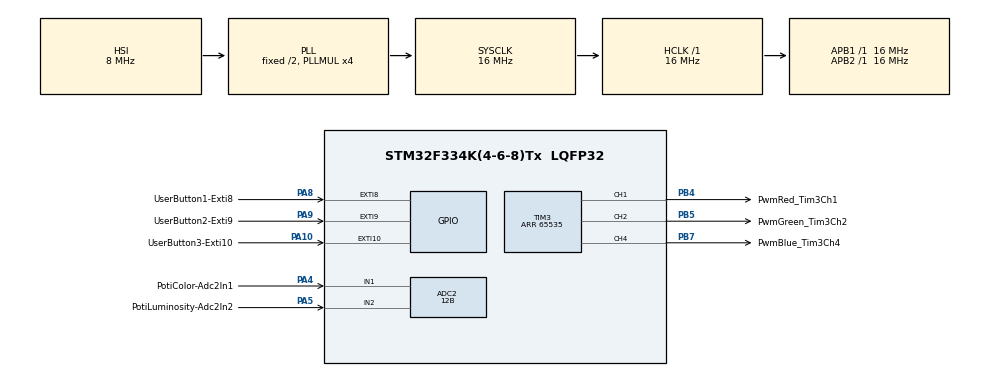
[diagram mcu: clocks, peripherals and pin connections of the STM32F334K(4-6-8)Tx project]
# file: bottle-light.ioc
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ADC2.Channel-0\#ChannelRegularConversion=ADC_CHANNEL_1
ADC2.Channel-1\#ChannelRegularConversion=ADC_CHANNEL_2
ADC2.ClockPrescaler=ADC_CLOCK_SYNC_PCLK_DIV4
ADC2.ContinuousConvMode=ENABLE
ADC2.DMAContinuousRequests=ENABLE
ADC2.DataAlign=ADC_DATAALIGN_RIGHT
ADC2.DiscontinuousConvMode=DISABLE
ADC2.EOCSelection=ADC_EOC_SINGLE_CONV
ADC2.EnableAnalogWatchDog1=false
ADC2.EnableAnalogWatchDog2=false
ADC2.EnableAnalogWatchDog3=false
ADC2.EnableInjectedConversion=DISABLE
ADC2.EnableRegularConversion=ENABLE
ADC2.ExternalTrigConv=ADC_SOFTWARE_START
ADC2.ExternalTrigConvEdge=ADC_EXTERNALTRIGCONVEDGE_NONE
ADC2.LowPowerAutoWait=DISABLE
ADC2.NbrOfConversion=2
ADC2.NbrOfConversionFlag=1
ADC2.Offset-0\#ChannelRegularConversion=0
ADC2.Offset-1\#ChannelRegularConversion=0
ADC2.OffsetNumber-0\#ChannelRegularConversion=ADC_OFFSET_NONE
ADC2.OffsetNumber-1\#ChannelRegularConversion=ADC_OFFSET_NONE
ADC2.Overrun=ADC_OVR_DATA_OVERWRITTEN
ADC2.Rank-0\#ChannelRegularConversion=1
ADC2.Rank-1\#ChannelRegularConversion=2
ADC2.Resolution=ADC_RESOLUTION_12B
ADC2.SamplingTime-0\#ChannelRegularConversion=ADC_SAMPLETIME_601CYCLES_5
ADC2.SamplingTime-1\#ChannelRegularConversion=ADC_SAMPLETIME_601CYCLES_5
ADC2.ScanConvMode=ADC_SCAN_ENABLE
Dma.ADC2.0.Direction=DMA_PERIPH_TO_MEMORY
Dma.ADC2.0.Instance=DMA1_Channel2
Dma.ADC2.0.MemDataAlignment=DMA_MDATAALIGN_WORD
Dma.ADC2.0.MemInc=DMA_MINC_ENABLE
Dma.ADC2.0.Mode=DMA_CIRCULAR
Dma.ADC2.0.PeriphDataAlignment=DMA_PDATAALIGN_WORD
Dma.ADC2.0.PeriphInc=DMA_PINC_DISABLE
Dma.ADC2.0.Priority=DMA_PRIORITY_LOW
Dma.Request0=ADC2
Mcu.Family=STM32F3
Mcu.Name=STM32F334K(4-6-8)Tx
Mcu.Package=LQFP32
NVIC.ADC1_2_IRQn=true\:0\:0\:false\:false\:true\:true
NVIC.DMA1_Channel2_IRQn=true\:0\:0\:false\:false\:true\:false
NVIC.EXTI15_10_IRQn=true\:0\:0\:false\:false\:true\:true
NVIC.EXTI9_5_IRQn=true\:0\:0\:false\:false\:true\:true
NVIC.PriorityGroup=NVIC_PRIORITYGROUP_4
NVIC.TIM3_IRQn=true\:0\:0\:false\:false\:true\:true
PA10.GPIO_Label=UserButton3-Exti10
PA10.Signal=GPXTI10
PA13.Mode=Trace_Asynchronous_SW
PA13.Signal=SYS_JTMS-SWDIO
PA14.Mode=Trace_Asynchronous_SW
PA14.Signal=SYS_JTCK-SWCLK
PA4.GPIO_Label=PotiColor-Adc2In1
PA4.Mode=IN1-Single-Ended
PA4.Signal=ADC2_IN1
PA5.GPIO_Label=PotiLuminosity-Adc2In2
PA5.Mode=IN2-Single-Ended
PA5.Signal=ADC2_IN2
PA8.GPIO_Label=UserButton1-Exti8
PA8.Signal=GPXTI8
PA9.GPIO_Label=UserButton2-Exti9
PA9.Signal=GPXTI9
PB3.Mode=Trace_Asynchronous_SW
PB3.Signal=SYS_JTDO-TRACESWO
PB4.GPIO_Label=PwmRed_Tim3Ch1
PB4.Signal=S_TIM3_CH1
PB5.GPIO_Label=PwmGreen_Tim3Ch2
PB5.Signal=S_TIM3_CH2
PB7.GPIO_Label=PwmBlue_Tim3Ch4
PB7.Signal=S_TIM3_CH4
ProjectManager.HeapSize=0x200
ProjectManager.StackSize=0x400
ProjectManager.TargetToolchain=SW4STM32
RCC.AHBFreq_Value=16000000
RCC.APB1Freq_Value=16000000
RCC.APB1TimFreq_Value=16000000
RCC.APB2Freq_Value=16000000
RCC.APB2TimFreq_Value=16000000
RCC.CortexFreq_Value=16000000
RCC.HCLKFreq_Value=16000000
RCC.HSE_VALUE=8000000
RCC.HSI_VALUE=8000000
RCC.PLLMUL=RCC_PLL_MUL4
RCC.SYSCLKFreq_VALUE=16000000
RCC.SYSCLKSourceVirtual=RCC_SYSCLKSOURCE_PLLCLK
SH.S_TIM3_CH1.0=TIM3_CH1,PWM Generation1 CH1
SH.S_TIM3_CH2.0=TIM3_CH2,PWM Generation2 CH2
SH.S_TIM3_CH4.0=TIM3_CH4,PWM Generation4 CH4
TIM3.AutoReloadPreload=TIM_AUTORELOAD_PRELOAD_ENABLE
TIM3.Channel-PWM\ Generation1\ CH1=TIM_CHANNEL_1
TIM3.Channel-PWM\ Generation2\ CH2=TIM_CHANNEL_2
TIM3.Channel-PWM\ Generation4\ CH4=TIM_CHANNEL_4
TIM3.Period=65535
TIM3.Pulse-PWM\ Generation1\ CH1=0
VP_TIM3_VS_ClockSourceINT.Mode=Internal
board=bottle-light

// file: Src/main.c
/**
  ******************************************************************************
  * File Name          : main.c
  * Description        : Main program body
  ******************************************************************************
  ** This notice applies to any and all portions of this file
  * that are not between comment pairs USER CODE BEGIN and
  * USER CODE END. Other portions of this file, whether
  * inserted by the user or by software development tools
  * are owned by their respective copyright owners.
  *
  * COPYRIGHT(c) 2018 STMicroelectronics
  *
  * Redistribution and use in source and binary forms, with or without modification,
  * are permitted provided that the following conditions are met:
  *   1. Redistributions of source code must retain the above copyright notice,
  *      this list of conditions and the following disclaimer.
  *   2. Redistributions in binary form must reproduce the above copyright notice,
  *      this list of conditions and the following disclaimer in the documentation
  *      and/or other materials provided with the distribution.
  *   3. Neither the name of STMicroelectronics nor the names of its contributors
  *      may be used to endorse or promote products derived from this software
  *      without specific prior written permission.
  *
  * THIS SOFTWARE IS PROVIDED BY THE COPYRIGHT HOLDERS AND CONTRIBUTORS "AS IS"
  * AND ANY EXPRESS OR IMPLIED WARRANTIES, INCLUDING, BUT NOT LIMITED TO, THE
  * IMPLIED WARRANTIES OF MERCHANTABILITY AND FITNESS FOR A PARTICULAR PURPOSE ARE
  * DISCLAIMED. IN NO EVENT SHALL THE COPYRIGHT HOLDER OR CONTRIBUTORS BE LIABLE
  * FOR ANY DIRECT, INDIRECT, INCIDENTAL, SPECIAL, EXEMPLARY, OR CONSEQUENTIAL
  * DAMAGES (INCLUDING, BUT NOT LIMITED TO, PROCUREMENT OF SUBSTITUTE GOODS OR
  * SERVICES; LOSS OF USE, DATA, OR PROFITS; OR BUSINESS INTERRUPTION) HOWEVER
  * CAUSED AND ON ANY THEORY OF LIABILITY, WHETHER IN CONTRACT, STRICT LIABILITY,
  * OR TORT (INCLUDING NEGLIGENCE OR OTHERWISE) ARISING IN ANY WAY OUT OF THE USE
  * OF THIS SOFTWARE, EVEN IF ADVISED OF THE POSSIBILITY OF SUCH DAMAGE.
  *
  ******************************************************************************
  */
#include "main.h"
#include "stm32f3xx_hal.h"
#include "adc.h"
#include "dma.h"
#include "tim.h"
#include "gpio.h"

/* USER CODE BEGIN Includes */
#define HAL

#define LED_RED 	TIM_CHANNEL_1
#define LED_GREEN 	TIM_CHANNEL_2
#define LED_BLUE 	TIM_CHANNEL_4

/* Boarders who define on witch point of color adc value a color maximum is reached */
#define COLOR_MAX_VALUE		20160
#define BOARDER_GREEN		20160
#define BOARDER_BLUE		40320
#define BOARDER_RED			60480 	// and 0
#define BOARDER_WHITE		63000

#define COLOR_TIM3_SCALING_FACTOR			3		// factor to scale form 20160 color value to 16 bit tim3 value
#define COLOR_TIM3_SCALING_FACTOR_OFFSET	5055	// existing offset, when scaling from 20160 color value to 16 bit tim3 value

#define ADC_TIM3_SCALING_FACTOR				16		// factor to scale from 12 bit adc to 16 bit tim3
#define ADC_TIM3_SCALING_FACTOR_OFFSET		15		// existing offset, when scaling 12 bit adc to 16 bit tim3

#define FADE_DELAY			25

#define ADC_ARRAY_LENGTH 	1000

#define TIM3_MAX_VALUE		65535				// maximum value for tim3 (2^16-1)

/* USER CODE END Includes */

/* USER CODE BEGIN PV */
/* Private variables ---------------------------------------------------------*/
uint8_t Power = 0;

uint32_t adc[2];

uint32_t RandomNumberAdc = 0;

uint32_t color;
uint32_t colorArray[ADC_ARRAY_LENGTH];
uint32_t luminosity;
uint32_t luminosityArray[ADC_ARRAY_LENGTH];
uint16_t AdcArrayCounter = 0;

uint64_t PwmDutyRed;
uint64_t PwmDutyGreen;
uint64_t PwmDutyBlue;

uint8_t Programm = 0;		// switch for light programs
uint8_t BreakProgram = 0;  // flag can be set to break the actual program (0…do nothing; 1…break program)

uint32_t test;			// a test variable
/* USER CODE END PV */

void SystemClock_Config(void);

/* USER CODE BEGIN PFP */
/* Private function prototypes -----------------------------------------------*/

/* USER CODE END PFP */

/* USER CODE BEGIN 0 */

#ifdef HAL

/**
  * @brief  Sets Duty to TIM PWM
  * @param  PulseLength 0 - 65535 (2^16)
  * @param  Channel TIM Channels to be configured
  *          This parameter can be one of the following values:
  *            @arg TIM_CHANNEL_1: TIM Channel 1 selected
  *            @arg TIM_CHANNEL_2: TIM Channel 2 selected
  *            @arg TIM_CHANNEL_3: TIM Channel 3 selected
  * @retval none
  */
void setPwmDuty(uint32_t PulseLength, uint32_t Channel)
{
	HAL_TIM_PWM_Stop(&htim3,Channel);

	TIM_OC_InitTypeDef sConfigOC;

	sConfigOC.OCMode = TIM_OCMODE_PWM1;
	sConfigOC.Pulse = PulseLength;
	sConfigOC.OCPolarity = TIM_OCPOLARITY_HIGH;
	sConfigOC.OCFastMode = TIM_OCFAST_DISABLE;
	if (HAL_TIM_PWM_ConfigChannel(&htim3, &sConfigOC, Channel) != HAL_OK)
	{
	  _Error_Handler(__FILE__, __LINE__);
	}
	HAL_TIM_PWM_Start(&htim3,Channel);
}

/**
  * @brief  Fade-in of a choosen LED color with a time delay
  * @param  TimeDiv		devides the additional PWM pulse to extend the fade-in time (1 - 1000)
  * @param  Led 		chose a led color to select
  *          This parameter can be one of the following values:
  *            @arg LED_RED:   Red   LEDs are selected
  *            @arg LED_GREEN: Green LEDs are selected
  *            @arg LED_BLUE:  Blue  LEDs are selected
  * @retval none
  */
void fadeInLed(uint16_t TimeDiv, uint32_t Led)
{
	uint32_t Channal;
	uint64_t PwmDuty = TimeDiv;

	if(TimeDiv > 1000)
		TimeDiv = 1000;

	Channal = Led;

	while(PwmDuty/TimeDiv < TIM3_MAX_VALUE)
	{
		setPwmDuty(PwmDuty/TimeDiv,Channal);
		PwmDuty = (PwmDuty + PwmDuty/TimeDiv);
		HAL_Delay(FADE_DELAY);
		}

}

/**
  * @brief  Fade-out of a choosen LED color with a time delay
  * @param  TimeDiv		devides the additional PWM pulse to extend the fade-in time (1 - 1000)
  * @param  Led 		chose a led color to select
  *          This parameter can be one of the following values:
  *            @arg LED_RED:   Red   LEDs are selected
  *            @arg LED_GREEN: Green LEDs are selected
  *            @arg LED_BLUE:  Blue  LEDs are selected
  * @retval none
  */
void fadeOutLed(uint16_t TimeDiv, uint32_t Led)
{
	uint32_t Channal;
	uint64_t PwmDuty = TIM3_MAX_VALUE*TimeDiv;

	if(TimeDiv > 1000)
		TimeDiv = 1000;

	Channal = Led;

	while(PwmDuty/TimeDiv > TimeDiv)
	{
		setPwmDuty(PwmDuty/TimeDiv,Channal);
		PwmDuty = (PwmDuty - PwmDuty/TimeDiv);
		HAL_Delay(FADE_DELAY);
	}
	setPwmDuty(0,Channal);

}

/**
  * @brief  Fades the LEDs from red to violett
  * @retval none
  */
void circleColor()
{
	int32_t n;		// counter variable

	setPwmDuty(TIM3_MAX_VALUE, LED_RED);
	setPwmDuty(0, LED_GREEN);
	setPwmDuty(0, LED_BLUE);

	n = 0;
	while(n<=TIM3_MAX_VALUE)
	{
		setPwmDuty(TIM3_MAX_VALUE-n, LED_RED);
		setPwmDuty(n, LED_GREEN);
		n++;
		if(BreakProgram == 1)
			break;
	}

	n = 0;
	while(n<=TIM3_MAX_VALUE)
	{
		setPwmDuty(TIM3_MAX_VALUE-n, LED_GREEN);
		setPwmDuty(n, LED_BLUE);
		n++;
		if(BreakProgram == 1)
			break;
	}

	n = 0;
	while(n<=TIM3_MAX_VALUE)
	{
		setPwmDuty(TIM3_MAX_VALUE-n, LED_BLUE);
		setPwmDuty(n, LED_RED);
		n++;
		if(BreakProgram == 1)
			break;
	}

}

void pulsingRGB()
{
	// turn off all leds
	setPwmDuty(0,LED_RED);
	setPwmDuty(0,LED_GREEN);
	setPwmDuty(0,LED_BLUE);

	// pulsing red, green, blue
	fadeInLed(10,LED_RED);
	fadeOutLed(10,LED_RED);
	fadeInLed(10,LED_GREEN);
	fadeOutLed(10,LED_GREEN);
	fadeInLed(10,LED_BLUE);
	fadeOutLed(10,LED_BLUE);
}

void chooseRainbowColor(uint32_t color)
{
	/* area from red to green */
	if (color >= 0 && color <=BOARDER_GREEN)
	{
		setPwmDuty((BOARDER_GREEN-color)*COLOR_TIM3_SCALING_FACTOR*luminosity/TIM3_MAX_VALUE,LED_RED);
		setPwmDuty(color*COLOR_TIM3_SCALING_FACTOR*luminosity/TIM3_MAX_VALUE,LED_GREEN);
		setPwmDuty(0,LED_BLUE);
	}
	/* area from green to blue */
	if (color > BOARDER_GREEN && color <= BOARDER_BLUE)
	{
		setPwmDuty(0,LED_RED);
		setPwmDuty((BOARDER_GREEN-(color-BOARDER_GREEN))*COLOR_TIM3_SCALING_FACTOR*luminosity/TIM3_MAX_VALUE,LED_GREEN);
		setPwmDuty((color-BOARDER_GREEN)*COLOR_TIM3_SCALING_FACTOR*luminosity/TIM3_MAX_VALUE,LED_BLUE);
	}
	/* area from blue to red */
	if (color > BOARDER_BLUE && color <= BOARDER_RED)
	{
		setPwmDuty((color-BOARDER_BLUE)*COLOR_TIM3_SCALING_FACTOR*luminosity/TIM3_MAX_VALUE,LED_RED);
		setPwmDuty(0,LED_GREEN);
		setPwmDuty((BOARDER_GREEN-(color-BOARDER_BLUE))*COLOR_TIM3_SCALING_FACTOR*luminosity/TIM3_MAX_VALUE,LED_BLUE);
	}
	/* small passage for red only (smooth transition to white */
	if (color > BOARDER_RED && color <= BOARDER_WHITE)
	{
		setPwmDuty(COLOR_MAX_VALUE*COLOR_TIM3_SCALING_FACTOR*luminosity/TIM3_MAX_VALUE,LED_RED);
		setPwmDuty(0,LED_GREEN);
		setPwmDuty(0,LED_BLUE);
	}
	/* small passage for white at the end of the scale */
	if (color > BOARDER_WHITE && color <= TIM3_MAX_VALUE)
	{
		setPwmDuty(luminosity,LED_RED);
		setPwmDuty(luminosity,LED_GREEN);
		setPwmDuty(luminosity,LED_BLUE);
	}
}

void pulseRandomColor()
{

}

/**
  * @brief  This function provides accurate delay (in milliseconds) based
  *         on variable incremented.
  * @note   In the default implementation , SysTick timer is the source of time base.
  *         It is used to generate interrupts at regular time intervals where uwTick
  *         is incremented.
  *         The origin function is overwritten with this implementation.
  * @param  Delay specifies the delay time length, in milliseconds.
  * @retval None
  */
void HAL_Delay(__IO uint32_t Delay)
{
  uint32_t tickstart = HAL_GetTick();
  uint32_t wait = Delay;

  /* Add a period to guarantee minimum wait */
  if (wait < HAL_MAX_DELAY)
  {
     wait++;
  }

  while((HAL_GetTick() - tickstart) < wait)
  {
	  if(BreakProgram == 1)
		  break;
  }
}

void HAL_GPIO_EXTI_Callback(uint16_t GPIO_Pin)
{
	BreakProgram = 1;		// brake actual program
	//Power = 1 - Power;
	switch(GPIO_Pin)
	{
	case GPIO_PIN_8:
		// HAL_GPIO_WritePin(PwmRed_Tim3Ch1_GPIO_Port,PwmRed_Tim3Ch1_Pin, 1);
		Programm = 1;
		break;

	case GPIO_PIN_9:
		// HAL_GPIO_WritePin(PwmGreen_Tim3Ch2_GPIO_Port, PwmGreen_Tim3Ch2_Pin, 1);
		Programm = 2;
		break;

	case GPIO_PIN_10:
		// HAL_GPIO_WritePin(PwmBlue_Tim3Ch4_GPIO_Port,PwmBlue_Tim3Ch4_Pin, 1);
		Programm = 3;
		break;

	default:
		break;
	}
}

void HAL_ADC_ConvCpltCallback(ADC_HandleTypeDef* hadc)
{
	colorArray[AdcArrayCounter] = adc[0]*ADC_TIM3_SCALING_FACTOR;
	luminosityArray[AdcArrayCounter]=adc[1]*ADC_TIM3_SCALING_FACTOR+ADC_TIM3_SCALING_FACTOR_OFFSET;			// read adc value (10 bit) and expand to pwm value (32 bit)

	if(AdcArrayCounter < ADC_ARRAY_LENGTH-1)
	{
		AdcArrayCounter++;
	}
	else
	{
		AdcArrayCounter = 0;
	}

	RandomNumberAdc = (RandomNumberAdc << 1) | ((adc[0] & 0x00000001) ^ (adc[1] & 0x00000001));

}

#endif

/* USER CODE END 0 */

int main(void)
{

  /* MCU Configuration----------------------------------------------------------*/

  /* Reset of all peripherals, Initializes the Flash interface and the Systick. */
  HAL_Init();

  /* Configure the system clock */
  SystemClock_Config();

  /* Initialize all configured peripherals */
  MX_GPIO_Init();
  MX_DMA_Init();
  MX_ADC2_Init();
  MX_TIM3_Init();

  /* USER CODE BEGIN 2 */
  HAL_ADC_Start_DMA(&hadc2, adc, 2);

//  HAL_TIM_PWM_Start(&htim3,TIM_CHANNEL_1);

  /* USER CODE END 2 */

  /* Infinite loop */
  while (1)
  {

  /* USER CODE BEGIN 3 */

	  /* adc average */
		color = 0;
		for(uint16_t n = 0; n<ADC_ARRAY_LENGTH; n++)
		{
			color=color+colorArray[n];
		}
		color = color/ADC_ARRAY_LENGTH;

		luminosity = 0;
		for(uint16_t n = 0; n<ADC_ARRAY_LENGTH; n++)
		{
			luminosity=luminosity+luminosityArray[n];
		}
		luminosity = luminosity/ADC_ARRAY_LENGTH;

		/* choose programm */
		BreakProgram = 0;				// reset BreakProgram flag
		switch(Programm)
		{

		// light dimmable with luminosity potentiometer and choosable color with color potentiometer (at maximum value color is white)
		case 1:		chooseRainbowColor(color);
					break;

		// pulsing red, green, blue
		case 2:		pulsingRGB();
					break;

		// circle color with linear function
		case 3:		circleColor();
					break;

		default:
					break;
		}

	  // light effect
	  if(Power == 1)
	  {

	  }
	  else
	  {

	  }

	  // switch power condition
	  if((color + luminosity) < 600)
	  {
		  Power = 0;
	  }
	  else
	  {
		  Power = 1;
	  }

  }
  /* USER CODE END 3 */

}

/** System Clock Configuration
*/
void SystemClock_Config(void)
{

  RCC_OscInitTypeDef RCC_OscInitStruct;
  RCC_ClkInitTypeDef RCC_ClkInitStruct;

    /**Initializes the CPU, AHB and APB busses clocks
    */
  RCC_OscInitStruct.OscillatorType = RCC_OSCILLATORTYPE_HSI;
  RCC_OscInitStruct.HSIState = RCC_HSI_ON;
  RCC_OscInitStruct.HSICalibrationValue = 16;
  RCC_OscInitStruct.PLL.PLLState = RCC_PLL_ON;
  RCC_OscInitStruct.PLL.PLLSource = RCC_PLLSOURCE_HSI;
  RCC_OscInitStruct.PLL.PLLMUL = RCC_PLL_MUL4;
  if (HAL_RCC_OscConfig(&RCC_OscInitStruct) != HAL_OK)
  {
    _Error_Handler(__FILE__, __LINE__);
  }

    /**Initializes the CPU, AHB and APB busses clocks
    */
  RCC_ClkInitStruct.ClockType = RCC_CLOCKTYPE_HCLK|RCC_CLOCKTYPE_SYSCLK
                              |RCC_CLOCKTYPE_PCLK1|RCC_CLOCKTYPE_PCLK2;
  RCC_ClkInitStruct.SYSCLKSource = RCC_SYSCLKSOURCE_PLLCLK;
  RCC_ClkInitStruct.AHBCLKDivider = RCC_SYSCLK_DIV1;
  RCC_ClkInitStruct.APB1CLKDivider = RCC_HCLK_DIV1;
  RCC_ClkInitStruct.APB2CLKDivider = RCC_HCLK_DIV1;

  if (HAL_RCC_ClockConfig(&RCC_ClkInitStruct, FLASH_LATENCY_0) != HAL_OK)
  {
    _Error_Handler(__FILE__, __LINE__);
  }

    /**Configure the Systick interrupt time
    */
  HAL_SYSTICK_Config(HAL_RCC_GetHCLKFreq()/1000);

    /**Configure the Systick
    */
  HAL_SYSTICK_CLKSourceConfig(SYSTICK_CLKSOURCE_HCLK);

  /* SysTick_IRQn interrupt configuration */
  HAL_NVIC_SetPriority(SysTick_IRQn, 0, 0);
}

void _Error_Handler(char * file, int line)
{
  while(1)
  {
  }
}

/************************ (C) COPYRIGHT STMicroelectronics *****END OF FILE****/
